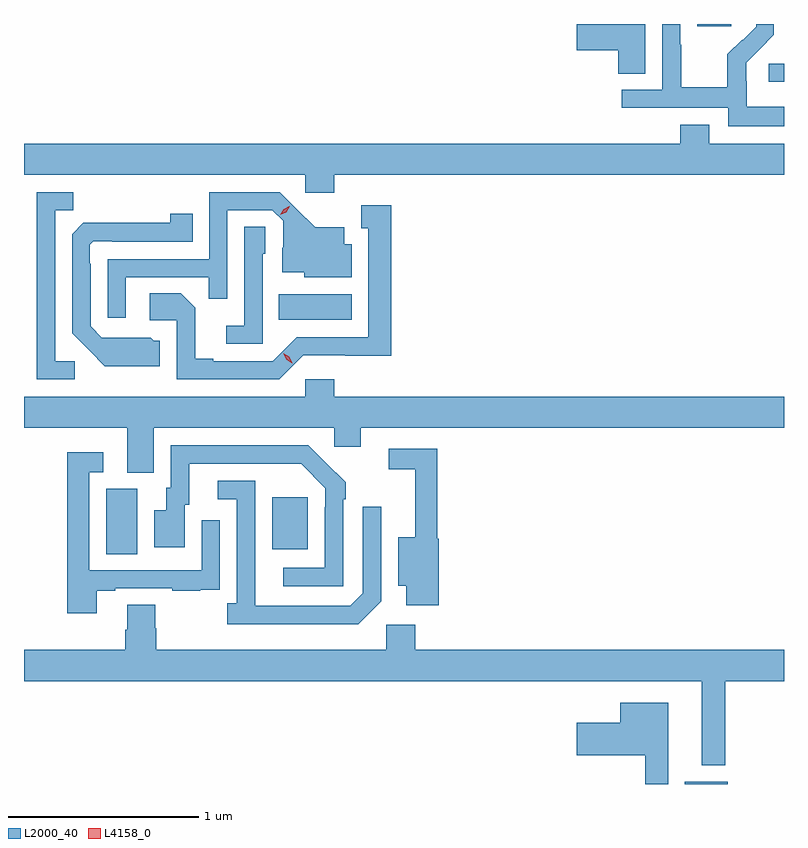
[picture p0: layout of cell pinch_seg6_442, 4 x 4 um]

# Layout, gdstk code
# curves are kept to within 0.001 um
import gdstk
lib = gdstk.Library(unit=1e-6, precision=1e-09)
def R(c, l, rs):  # rectangles x0, y0, x1, y1
    for r in rs: c.add(gdstk.rectangle(r[:2], r[2:], *l))
def P(c, l, *ps):  # polygons
    for p in ps: c.add(gdstk.Polygon(p, *l))
L2000_40 = (2000, 40)
L4158_0 = (4158, 0)

pinch_seg6_442 = lib.new_cell('pinch_seg6_442')
R(pinch_seg6_442, L2000_40, [(735.131,916.158,735.358,916.171), (732.086,917.368,732.25,917.712), (732.959,917.393,733.147,917.668), (732.994,918.602,733.378,918.736), (735.573,919.853,735.653,919.95), (735.197,920.145,735.376,920.158)])
P(pinch_seg6_442, L2000_40, [(734.923,920.158),(734.562,920.158),(734.562,920.021),(734.78,920.021),(734.78,919.897),(734.923,919.897)],
  [(735.653,919.723),(735.456,919.723),(735.456,919.857),(735.454,919.857),(735.454,919.954),(735.6,920.102),(735.6,920.158),(735.506,920.158),(735.506,920.144),(735.435,920.073),(735.432,920.076),(735.355,919.999),(735.355,919.825),(735.111,919.825),(735.111,920.048),(735.108,920.048),(735.108,920.158),(735.012,920.158),(735.012,919.812),(734.799,919.812),(734.799,919.716),(735.36,919.716),(735.36,919.619),(735.653,919.619)],
  [(733.286,919.364),(735.653,919.364),(735.653,919.528),(735.259,919.528),(735.259,919.627),(735.107,919.627),(735.107,919.528),(731.653,919.528),(731.653,919.364),(733.134,919.364),(733.134,919.269),(733.286,919.269)],
  [(732.189,918.825),(732.625,918.825),(732.625,918.712),(732.723,918.712),(732.723,919.179),(732.96,919.179),(733.017,919.122),(733.017,918.98),(733.013,918.98),(733.013,918.851),(733.128,918.851),(733.128,918.824),(733.378,918.824),(733.378,919),(733.339,919),(733.339,919.087),(733.187,919.087),(733,919.272),(732.627,919.272),(732.627,918.921),(732.093,918.921),(732.093,918.612),(732.189,918.612)],
  [(731.92,918.384),(731.817,918.384),(731.817,919.177),(731.913,919.177),(731.913,919.272),(731.721,919.272),(731.721,918.288),(731.92,918.288)],
  [(733.122,918.414),(733.585,918.413),(733.585,919.204),(733.427,919.204),(733.427,919.083),(733.466,919.083),(733.466,918.51),(733.089,918.51),(732.963,918.384),(732.649,918.384),(732.649,918.397),(732.555,918.397),(732.555,918.664),(732.479,918.74),(732.315,918.74),(732.315,918.6),(732.456,918.6),(732.456,918.288),(732.996,918.288)],
  [(732.367,918.492),(732.336,918.492),(732.32,918.508),(732.063,918.507),(732.003,918.567),(732.003,918.896),(732,918.896),(732,918.996),(732.018,919.014),(732.118,919.014),(732.118,919.011),(732.542,919.011),(732.542,919.159),(732.424,919.159),(732.424,919.112),(731.966,919.111),(731.907,919.052),(731.907,918.53),(732.079,918.356),(732.367,918.356)],
  [(732.909,918.948),(732.924,918.948),(732.924,919.091),(732.813,919.091),(732.813,918.571),(732.717,918.571),(732.717,918.474),(732.909,918.474)],
  [(732.337,918.032),(733.287,918.032),(733.287,917.934),(733.426,917.934),(733.426,918.032),(735.653,918.032),(735.653,918.196),(733.286,918.196),(733.286,918.289),(733.134,918.289),(733.134,918.196),(731.653,918.196),(731.653,918.032),(732.197,918.032),(732.197,917.797),(732.337,917.797)],
  [(733.332,917.657),(733.347,917.657),(733.347,917.745),(733.15,917.94),(732.426,917.94),(732.426,917.718),(732.401,917.718),(732.401,917.599),(732.338,917.599),(732.338,917.403),(732.499,917.403),(732.499,917.628),(732.523,917.628),(732.523,917.844),(733.111,917.844),(733.239,917.715),(733.239,917.615),(733.236,917.615),(733.236,917.295),(733.017,917.295),(733.017,917.199),(733.332,917.199)],
  [(733.835,917.448),(733.829,917.448),(733.829,917.922),(733.572,917.922),(733.572,917.814),(733.712,917.814),(733.712,917.458),(733.622,917.458),(733.622,917.201),(733.664,917.201),(733.664,917.1),(733.835,917.1)],
  [(732.037,917.175),(732.133,917.175),(732.133,917.187),(732.433,917.187),(732.433,917.175),(732.581,917.175),(732.581,917.181),(732.683,917.181),(732.683,917.29),(732.684,917.29),(732.684,917.545),(732.588,917.545),(732.588,917.283),(731.997,917.283),(731.997,917.799),(732.07,917.799),(732.07,917.905),(731.881,917.905),(731.881,917.058),(732.037,917.058)],
  [(733.533,917.121),(733.533,917.617),(733.437,917.617),(733.437,917.163),(733.371,917.097),(732.871,917.097),(732.87,917.754),(732.672,917.754),(732.672,917.658),(732.774,917.658),(732.774,917.11),(732.723,917.11),(732.723,917),(733.412,917)],
  [(735.343,916.7),(735.653,916.7),(735.653,916.864),(733.712,916.864),(733.712,916.996),(733.56,916.996),(733.56,916.864),(732.35,916.864),(732.35,916.977),(732.345,916.977),(732.345,917.102),(732.197,917.102),(732.197,916.97),(732.185,916.97),(732.185,916.864),(731.653,916.864),(731.653,916.7),(735.221,916.7),(735.221,916.256),(735.343,916.256)],
  [(735.043,916.585),(734.792,916.585),(734.792,916.48),(734.562,916.48),(734.562,916.31),(734.922,916.31),(734.922,916.158),(735.043,916.158)])
P(pinch_seg6_442, L4158_0, [(733.066,918.373),(733.035,918.392),(733.018,918.426),(733.018,918.426),(733.018,918.426),(733.05,918.406),(733.066,918.373),(733.066,918.373)],
  [(733.002,919.154),(733.002,919.154),(733.019,919.183),(733.05,919.198),(733.051,919.198),(733.051,919.198),(733.033,919.168),(733.002,919.154)])

lib.write_gds('pinch_seg6_442.gds')
